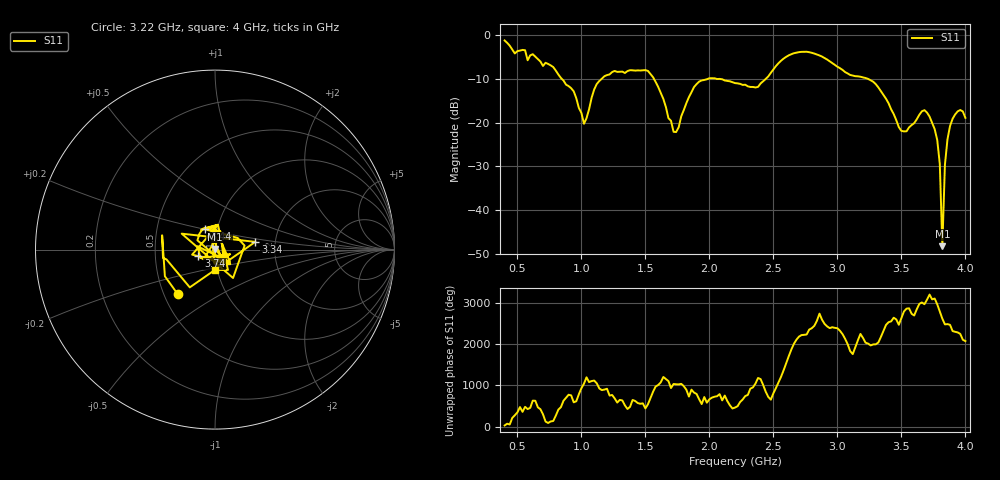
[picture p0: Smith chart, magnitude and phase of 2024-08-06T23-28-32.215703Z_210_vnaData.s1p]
!Created with skrf (http://scikit-rf.org).
# Hz S RI R 50.0
!freq ReS11 ImS11
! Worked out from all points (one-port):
!   181 points, 400 MHz to 4 GHz, reference 50 ohm
!   lowest |S11| = -48.3 dB at 3.82 GHz (marker M1), VSWR 1.01, Z = 50 + j0.386 ohm
!   |S11| at or under -10 dB: 1.567 GHz to 1.987 GHz (419.4 MHz wide, 23.6 % of centre); 2.081 GHz to 2.44 GHz (358.7 MHz wide, 15.9 % of centre); 3.24 GHz to end of sweep (the widest 3 of 5)
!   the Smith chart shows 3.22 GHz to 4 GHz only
!   S11 on the Smith chart (normalised r, x): 3.22 GHz: 0.59, -0.33; 3.34 GHz: 1.57, +0.14; 3.44 GHz: 0.87, +0.20; 3.74 GHz: 0.83, -0.06; 4 GHz: 0.97, -0.22
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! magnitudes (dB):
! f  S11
! 400 MHz  -1.2
! 860 MHz  -10.4
! 940 MHz  -12.8
! 1.02 GHz  -20.3
! 1.12 GHz  -11.2
! 1.3 GHz  -8.4
! 1.52 GHz  -8.2
! 1.72 GHz  -22.1
! 1.76 GHz  -21.1
! 1.92 GHz  -10.6
! 2.2 GHz  -10.9
! 2.38 GHz  -11.8
! 2.66 GHz  -4.1
! 3.1 GHz  -9.1
! 3.22 GHz  -9.8
! 3.34 GHz  -12.8
! 3.44 GHz  -18.0
! 3.5 GHz  -21.9
! 3.56 GHz  -21.1
! 3.68 GHz  -17.1
! 3.74 GHz  -20.0
! 3.78 GHz  -24.0
! 3.8 GHz  -29.4
! 3.82 GHz  -48.3
! 3.84 GHz  -29.7
! 3.86 GHz  -23.8
! 3.92 GHz  -18.1
! 4 GHz  -18.9
